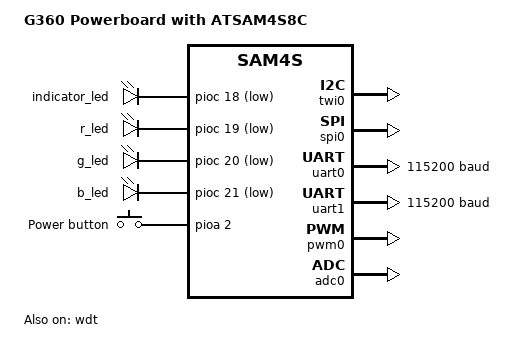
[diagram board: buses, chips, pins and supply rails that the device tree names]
/*
 * Copyright (c) Justin Watson 2017
 * SPDX-License-Identifier: Apache-2.0
 */

/dts-v1/;

#include <atmel/sam4s8c.dtsi>
#include "powerboard.dtsi"
#include <zephyr/dt-bindings/input/input-event-codes.h>


/ {
	model = "G360 Powerboard with ATSAM4S8C";
	compatible = "atmel,sam4s8c", "atmel,sam4s";

	aliases {
		indicator-led = &indicator_led;
		r-led = &r_led;
		g-led = &g_led;
		b-led = &b_led;
		my-button = &power_button;
	};

	chosen {
		zephyr,console = &uart0;
		zephyr,shell-uart = &uart0;
		zephyr,sram = &sram0;
		zephyr,flash = &flash0;
	};

	sram1: sram@60000000 {
		compatible = "zephyr,memory-region", "mmio-sram";
		device_type = "memory";
		reg = <0x60000000 DT_SIZE_K(512)>;
		zephyr,memory-region = "SRAM1";
	};

	sram2: sram@61000000 {
		compatible = "zephyr,memory-region", "mmio-sram";
		device_type = "memory";
		reg = <0x61000000 DT_SIZE_K(512)>;
		zephyr,memory-region = "SRAM2";
	};

	leds {
		compatible = "gpio-leds";
		indicator_led: indicator_led {
			gpios = <&pioc 18 GPIO_ACTIVE_LOW>;
		};
		r_led: r_led {
			gpios = <&pioc 19 GPIO_ACTIVE_LOW>;
		};
		g_led: g_led {
			gpios = <&pioc 20 GPIO_ACTIVE_LOW>;
		};
		b_led: b_led {
			gpios = <&pioc 21 GPIO_ACTIVE_LOW>;
		};

	};

	buttons {
		compatible = "gpio-keys";
		debounce-interval-ms = <50>;
		polling-mode;

		power_button: button_1 {
			label = "Power button";
			gpios = <&pioa 2 (GPIO_ACTIVE_HIGH | GPIO_PULL_UP)>;
		};
	};

};

&cpu0 {
	clock-frequency = <120000000>;
};

&twi0 {
	status = "okay";

	pinctrl-0 = <&twi0_default>;
	pinctrl-names = "default";
};

&spi0 {
	status = "okay";

	pinctrl-0 = <&spi0_default>;
	pinctrl-names = "default";

	cs-gpios = <&pioa 31 GPIO_ACTIVE_LOW>,
			   <&pioa 30 GPIO_ACTIVE_LOW>;
};

&uart0 {
	status = "okay";
	current-speed = <115200>;

	pinctrl-0 = <&uart0_default>;
	pinctrl-names = "default";
};

&uart1 {
	status = "okay";
	current-speed = <115200>;

	pinctrl-0 = <&uart1_default>;
	pinctrl-names = "default";
};

&pwm0 {
	status = "okay";

	pinctrl-0 = <&pwm0_default>;
	pinctrl-names = "default";
};

&adc0 {
	status = "okay";

	pinctrl-0 = <&adc0_default>;
	pinctrl-names = "default";

	prescaler = <9>;
	startup-time = <64>;
	settling-time = <3>;
	tracking-time = <2>;
};

&wdt {
	status = "okay";
};

